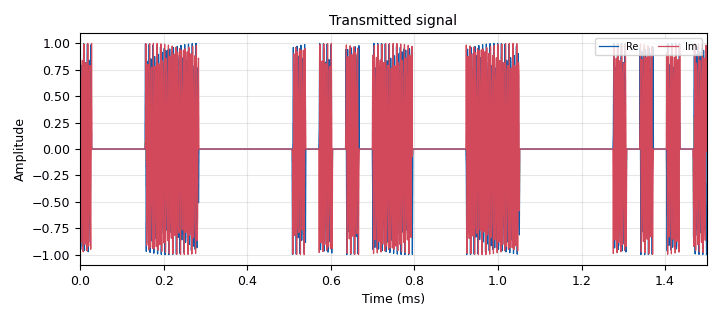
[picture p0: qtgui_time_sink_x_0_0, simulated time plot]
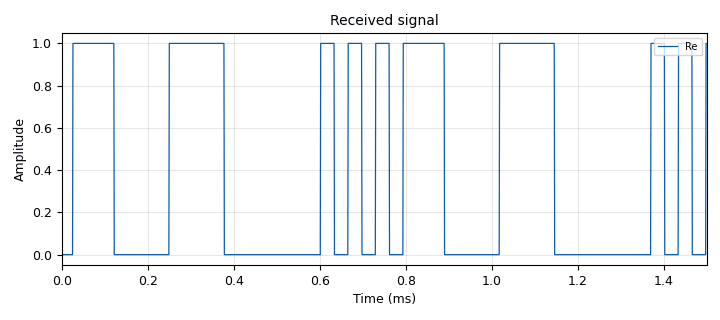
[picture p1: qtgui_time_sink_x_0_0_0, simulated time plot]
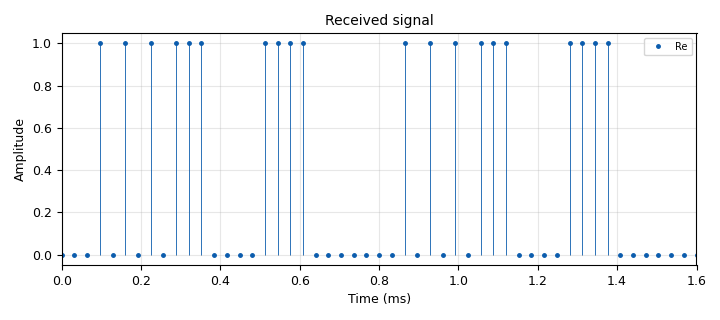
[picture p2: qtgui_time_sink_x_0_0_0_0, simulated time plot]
options:
  parameters:
    generate_options: qt_gui
    id: OOK_Rx_simulator
    output_language: python
    title: Simulate OOK reception
  states: {}

blocks:
- name: freq
  id: variable_qtgui_range
  parameters:
    gui_hint: 0,0,1,2
    start: 1e3
    step: 1e3
    stop: 500e3
    value: 223e3
  states: {}
- name: samp_rate
  id: variable
  parameters:
    value: 1e6
  states: {}
- name: samps_per_sym
  id: variable
  parameters:
    value: '32'
  states: {}
- name: analog_sig_source_x_0
  id: analog_sig_source_x
  parameters:
    amp: '1'
    freq: freq
    offset: '0'
    phase: '0'
    samp_rate: samp_rate
    type: complex
    waveform: analog.GR_COS_WAVE
  states: {}
- name: blocks_complex_to_mag_0
  id: blocks_complex_to_mag
  parameters: {}
  states: {}
- name: blocks_keep_one_in_n_0
  id: blocks_keep_one_in_n
  parameters:
    n: samps_per_sym
    type: float
  states: {}
- name: blocks_multiply_xx_0
  id: blocks_multiply_xx
  parameters:
    type: complex
  states: {}
- name: blocks_repeat_0
  id: blocks_repeat
  parameters:
    interp: samps_per_sym
    type: complex
  states: {}
- name: blocks_threshold_ff_0
  id: blocks_threshold_ff
  parameters:
    high: '0.50'
    init: '0'
    low: '0.50'
  states: {}
- name: blocks_throttle_0
  id: blocks_throttle
  parameters:
    samples_per_second: samp_rate
    type: complex
  states: {}
- name: blocks_vector_source_x_0
  id: blocks_vector_source_x
  parameters:
    repeat: 'True'
    type: complex
    vector: (0, 1, 0, 1, 0, 1, 0, 1, 1, 1, 0, 0, 0, 0, 1, 1, 1, 1, 0, 0, 0, 0, 0, 0)
  states: {}
- name: qtgui_time_sink_x_0_0
  id: qtgui_time_sink_x
  parameters:
    autoscale: 'True'
    entags: 'False'
    gui_hint: 1,0,1,2
    label1: Re
    label2: Im
    name: '"Transmitted signal"'
    size: '1500'
    srate: samp_rate
    tr_delay: '25e-6'
    tr_level: '0.5'
    tr_mode: qtgui.TRIG_MODE_NORM
    type: complex
  states: {}
- name: qtgui_time_sink_x_0_0_0
  id: qtgui_time_sink_x
  parameters:
    autoscale: 'True'
    gui_hint: 2,0,1,2
    label1: Re
    name: '"Received signal"'
    size: '1500'
    srate: samp_rate
    tr_delay: '25e-6'
    tr_level: '0.5'
    tr_mode: qtgui.TRIG_MODE_NORM
    type: float
  states: {}
- name: qtgui_time_sink_x_0_0_0_0
  id: qtgui_time_sink_x
  parameters:
    autoscale: 'True'
    gui_hint: 3,0,1,2
    label1: Re
    marker1: '0'
    name: '"Received signal"'
    size: '51'
    srate: samp_rate/samps_per_sym
    stemplot: 'True'
    tr_delay: '31e-3'
    tr_level: '0.5'
    tr_mode: qtgui.TRIG_MODE_NORM
    type: float
  states: {}

connections:
- [analog_sig_source_x_0, '0', blocks_multiply_xx_0, '1']
- [analog_sig_source_x_0, '0', blocks_throttle_0, '0']
- [blocks_complex_to_mag_0, '0', blocks_threshold_ff_0, '0']
- [blocks_complex_to_mag_0, '0', qtgui_time_sink_x_0_0_0, '0']
- [blocks_keep_one_in_n_0, '0', qtgui_time_sink_x_0_0_0_0, '0']
- [blocks_multiply_xx_0, '0', blocks_complex_to_mag_0, '0']
- [blocks_multiply_xx_0, '0', qtgui_time_sink_x_0_0, '0']
- [blocks_repeat_0, '0', blocks_multiply_xx_0, '0']
- [blocks_threshold_ff_0, '0', blocks_keep_one_in_n_0, '0']
- [blocks_vector_source_x_0, '0', blocks_repeat_0, '0']

metadata:
  file_format: 1
